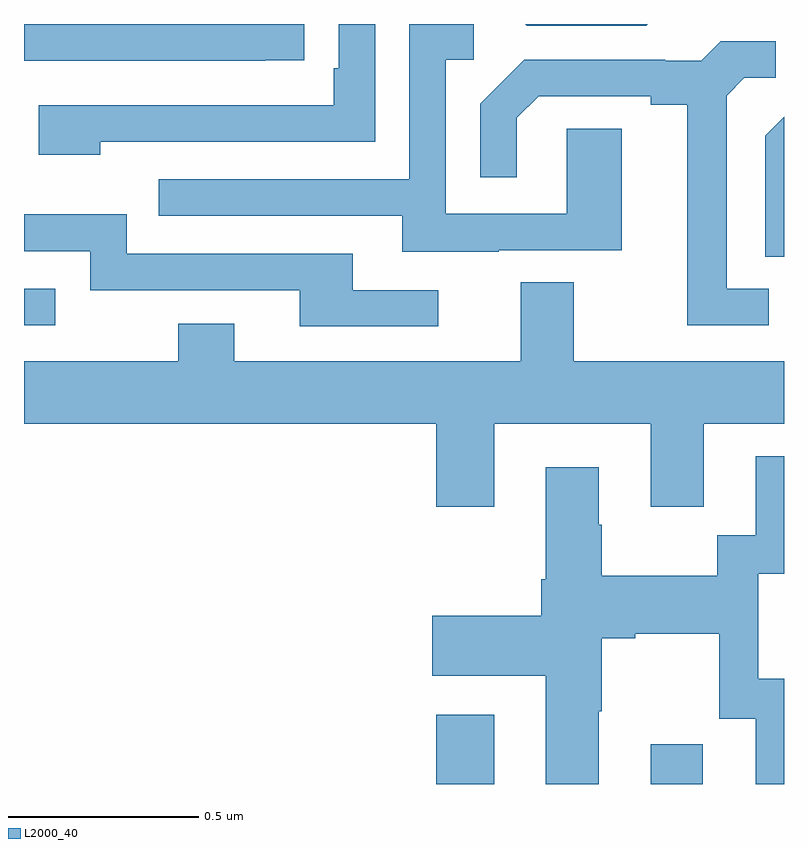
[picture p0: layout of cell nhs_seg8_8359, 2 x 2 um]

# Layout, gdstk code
import gdstk
lib = gdstk.Library(unit=1e-6, precision=1e-09)
def R(c, l, rs):  # rectangles x0, y0, x1, y1
    for r in rs: c.add(gdstk.rectangle(r[:2], r[2:], *l))
def P(c, l, *ps):  # polygons
    for p in ps: c.add(gdstk.Polygon(p, *l))
L2000_40 = (2000, 40)

nhs_seg8_8359 = lib.new_cell('nhs_seg8_8359')
R(nhs_seg8_8359, L2000_40, [(223.085,1100.9,223.237,1101.082), (223.649,1100.9,223.786,1101.004), (222,1102.107,222.082,1102.203)])
P(nhs_seg8_8359, L2000_40, [(222.635,1102.804),(222.737,1102.804),(222.737,1102.9),(222.641,1102.9),(222.641,1102.899),(222.251,1102.899),(222.251,1102.9),(222.139,1102.9),(222.139,1102.899),(222,1102.899),(222,1102.803),(222.635,1102.803)],
  [(223.642,1102.9),(223.319,1102.9),(223.323,1102.896),(223.638,1102.896)],
  [(222.2,1102.59),(222.924,1102.59),(222.924,1102.9),(222.828,1102.9),(222.828,1102.783),(222.815,1102.783),(222.815,1102.686),(222.039,1102.686),(222.039,1102.556),(222.2,1102.556)],
  [(223.249,1102.305),(223.573,1102.305),(223.573,1102.625),(223.428,1102.625),(223.428,1102.401),(223.11,1102.401),(223.11,1102.806),(223.183,1102.806),(223.183,1102.9),(223.014,1102.9),(223.014,1102.491),(222.355,1102.491),(222.355,1102.395),(222.995,1102.395),(222.995,1102.301),(223.249,1102.301)],
  [(223.96,1102.203),(223.849,1102.203),(223.849,1102.711),(223.896,1102.758),(223.978,1102.758),(223.978,1102.855),(223.834,1102.855),(223.782,1102.803),(223.688,1102.803),(223.688,1102.806),(223.316,1102.806),(223.2,1102.69),(223.2,1102.497),(223.297,1102.497),(223.297,1102.653),(223.354,1102.71),(223.649,1102.71),(223.649,1102.688),(223.745,1102.688),(223.745,1102.107),(223.96,1102.107)],
  [(224,1102.656),(223.95,1102.606),(223.95,1102.288),(224,1102.288)],
  [(223.09,1102.2),(222.865,1102.2),(222.865,1102.296),(222.27,1102.296),(222.27,1102.399),(222,1102.399),(222,1102.302),(222.174,1102.302),(222.174,1102.2),(222.725,1102.2),(222.725,1102.104),(223.09,1102.104)],
  [(223.237,1101.848),(223.649,1101.848),(223.649,1101.63),(223.789,1101.63),(223.789,1101.848),(224,1101.848),(224,1102.012),(223.447,1102.012),(223.447,1102.22),(223.307,1102.22),(223.307,1102.012),(222.553,1102.012),(222.553,1102.111),(222.406,1102.111),(222.406,1102.012),(222,1102.012),(222,1101.848),(223.085,1101.848),(223.085,1101.63),(223.237,1101.63)],
  [(223.513,1101.091),(223.521,1101.091),(223.521,1101.284),(223.609,1101.284),(223.609,1101.296),(223.829,1101.296),(223.829,1101.072),(223.925,1101.072),(223.925,1100.9),(224,1100.9),(224,1101.177),(223.932,1101.177),(223.932,1101.453),(224,1101.453),(224,1101.763),(223.925,1101.763),(223.925,1101.554),(223.824,1101.554),(223.824,1101.448),(223.521,1101.448),(223.521,1101.582),(223.513,1101.582),(223.513,1101.733),(223.373,1101.733),(223.373,1101.439),(223.361,1101.439),(223.361,1101.343),(223.074,1101.343),(223.074,1101.185),(223.373,1101.185),(223.373,1100.9),(223.513,1100.9)])

lib.write_gds('nhs_seg8_8359.gds')
